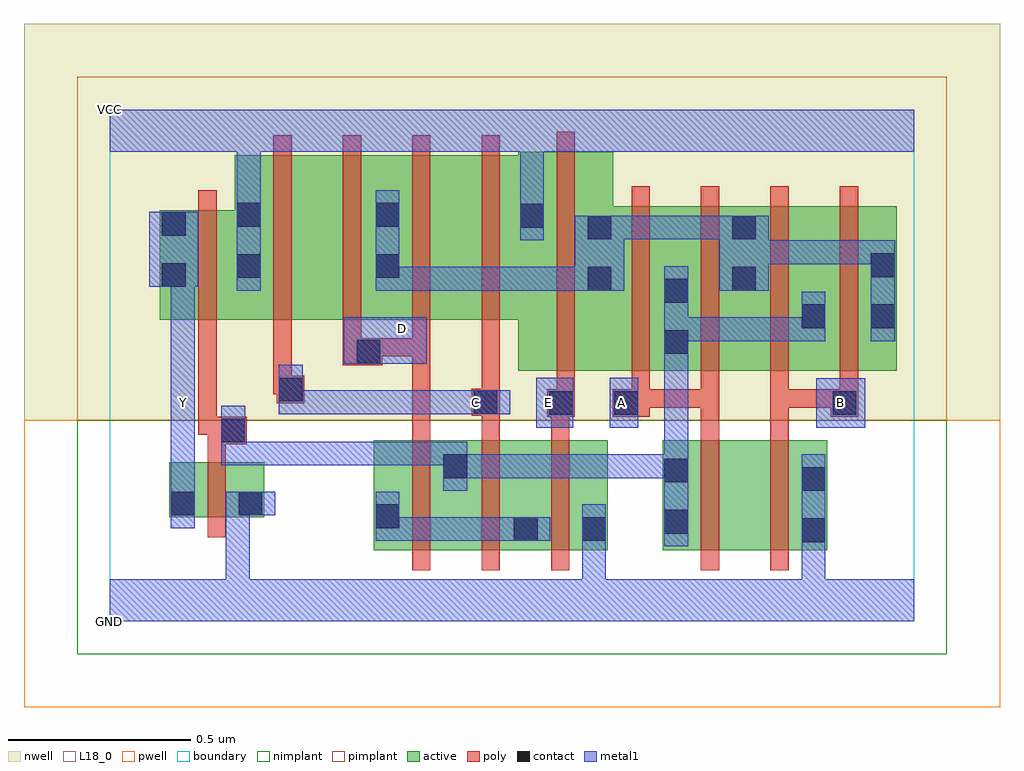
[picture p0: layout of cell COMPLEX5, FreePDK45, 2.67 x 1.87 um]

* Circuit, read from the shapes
.subckt COMPLEX5 A B C D E GND VCC Y
M1 GND n1 Y VSUBS nfet w=0.15u l=0.05u
M2 n1 D n2 VSUBS nfet w=0.3u l=0.05u
M3 n2 C n1 VSUBS nfet w=0.3u l=0.05u
M4 GND E n2 VSUBS nfet w=0.3u l=0.05u
M5 n3 A n1 VSUBS nfet w=0.3u l=0.05u
M6 GND B n3 VSUBS nfet w=0.3u l=0.05u
M7 VCC n1 Y n4 pfet w=0.3u l=0.05u
M8 n5 C VCC n4 pfet w=0.45u l=0.05u
M9 n6 D n5 n4 pfet w=0.45u l=0.05u
M10 n7 D n6 n4 pfet w=0.45u l=0.05u
M11 VCC C n7 n4 pfet w=0.45u l=0.05u
M12 n6 E VCC n4 pfet w=0.6u l=0.05u
M13 n1 A n6 n4 pfet w=0.45u l=0.05u m=2
M14 n1 B n6 n4 pfet w=0.45u l=0.05u m=2
.ends

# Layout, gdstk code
import gdstk
lib = gdstk.Library(unit=1e-6, precision=1e-09)
def R(c, l, rs):  # rectangles x0, y0, x1, y1
    for r in rs: c.add(gdstk.rectangle(r[:2], r[2:], *l))
def A(c, l, x, y, w, h, nx, ny, dx, dy):  # array of equal rectangles
    R(c, l, [(x+i*dx, y+j*dy, x+i*dx+w, y+j*dy+h) for i in range(nx) for j in range(ny)])
active = (1, 0)
pwell = (2, 0)
nwell = (3, 0)
nimplant = (4, 0)
pimplant = (5, 0)
poly = (9, 0)
contact = (10, 0)
metal1 = (11, 0)
L18_0 = (18, 0)
boundary = (235, 0)

complex5 = lib.new_cell('COMPLEX5')
R(complex5, active, [(0.722,0.195,0.797,0.495), (0.722,0.195,0.982,0.495), (0.907,0.195,1.175,0.495), (0.907,0.195,0.982,0.462), (1.1,0.195,1.362,0.495), (1.1,0.195,1.175,0.392), (1.287,0.195,1.362,0.495), (1.512,0.195,1.737,0.495), (1.512,0.195,1.617,0.495), (1.737,0.195,1.962,0.495), (1.887,0.195,1.962,0.495), (0.162,0.285,0.237,0.435), (0.162,0.285,0.422,0.435), (0.347,0.285,0.422,0.435), (1.117,0.685,1.377,1.285), (1.302,0.685,1.587,1.135), (1.512,0.685,1.772,1.135), (1.697,0.685,1.962,1.135), (1.887,0.685,2.152,1.135), (2.077,0.685,2.152,1.055), (1.512,0.727,1.587,1.055), (1.887,0.797,1.962,1.07), (0.137,0.825,0.212,1.125), (0.137,0.825,0.417,1.125), (0.342,0.825,0.567,1.275), (0.342,0.825,0.417,1.15), (0.567,0.825,0.797,1.275), (0.722,0.825,0.947,1.275), (0.947,0.825,1.192,1.275), (0.722,0.857,0.797,1.2), (1.117,0.857,1.192,1.147), (1.302,0.857,1.377,1.2), (1.697,0.857,1.772,1.135)])
R(complex5, pwell, [(-0.235,-0.235,2.435,0.55)])
R(complex5, nwell, [(-0.235,0.55,2.435,1.635)])
R(complex5, nimplant, [(-0.09,-0.09,2.29,0.55)])
R(complex5, pimplant, [(-0.09,0.55,2.29,1.49)])
A(complex5, poly, 0.827, 0.14, 0.05, 0.41, 3, 1, 0.19, 0)
A(complex5, poly, 1.427, 0.585, 0.05, 0.095, 4, 1, 0.19, 0)
A(complex5, poly, 1.427, 0.63, 0.05, 0.56, 4, 1, 0.19, 0)
A(complex5, poly, 0.447, 0.77, 0.05, 0.56, 4, 1, 0.19, 0)
R(complex5, poly, [(1.617,0.14,1.667,0.55), (1.807,0.14,1.857,0.55), (0.267,0.23,0.317,0.49), (0.267,0.44,0.317,0.535), (0.267,0.485,0.375,0.56), (0.827,0.5,0.877,0.775), (1.017,0.5,1.067,0.612), (1.207,0.5,1.257,0.61), (1.617,0.5,1.667,0.635), (1.807,0.5,1.857,0.635), (0.242,0.51,0.292,0.82), (0.242,0.51,0.317,0.56), (0.267,0.51,0.317,0.56), (1.197,0.56,1.272,0.635), (1.207,0.56,1.257,0.61), (1.207,0.56,1.257,0.61), (1.375,0.56,1.477,0.635), (1.972,0.56,2.047,0.635), (0.99,0.562,1.067,0.637), (1.222,0.585,1.272,0.68), (1.427,0.585,1.667,0.635), (1.617,0.585,1.667,0.635), (1.617,0.585,1.667,0.635), (1.617,0.585,1.667,0.635), (1.617,0.585,1.667,0.635), (1.617,0.585,1.667,0.635), (1.807,0.585,2.022,0.635), (1.807,0.585,1.857,0.635), (1.807,0.585,1.857,0.635), (1.807,0.585,1.857,0.635), (1.807,0.585,1.857,0.635), (1.807,0.585,1.857,0.635), (1.017,0.587,1.067,0.637), (1.017,0.587,1.067,0.637), (1.017,0.587,1.067,0.82), (0.457,0.597,0.532,0.672), (0.447,0.622,0.497,0.82), (0.447,0.622,0.507,0.672), (0.457,0.622,0.507,0.672), (1.222,0.63,1.272,1.34), (0.637,0.7,0.745,0.775), (0.637,0.725,0.687,0.82), (0.695,0.725,0.877,0.775), (0.827,0.725,0.877,0.82), (0.827,0.725,0.877,0.775), (0.827,0.725,0.877,0.775), (0.827,0.725,0.877,0.775), (0.827,0.725,0.877,0.775), (0.827,0.725,0.877,0.775), (0.242,0.77,0.292,1.18)])
R(complex5, contact, [(1.892,0.217,1.957,0.282), (1.105,0.22,1.17,0.285), (1.292,0.22,1.357,0.285), (1.517,0.24,1.582,0.305), (0.727,0.255,0.792,0.32), (0.167,0.29,0.232,0.355), (0.352,0.29,0.417,0.355), (1.892,0.357,1.957,0.422), (1.517,0.38,1.582,0.445), (0.912,0.392,0.977,0.457), (0.305,0.49,0.37,0.555), (1.202,0.565,1.267,0.63), (1.38,0.565,1.445,0.63), (1.977,0.565,2.042,0.63), (0.995,0.567,1.06,0.632), (0.462,0.602,0.527,0.667), (0.675,0.705,0.74,0.77), (1.517,0.732,1.582,0.797), (1.892,0.802,1.957,0.867), (2.082,0.802,2.147,0.867), (1.517,0.872,1.582,0.937), (1.307,0.905,1.372,0.97), (1.702,0.905,1.767,0.97), (0.142,0.915,0.207,0.98), (0.347,0.94,0.412,1.005), (0.727,0.94,0.792,1.005), (2.082,0.942,2.147,1.007), (1.307,1.045,1.372,1.11), (1.702,1.045,1.767,1.11), (0.142,1.055,0.207,1.12), (1.122,1.077,1.187,1.142), (0.347,1.08,0.412,1.145), (0.727,1.08,0.792,1.145)])
R(complex5, metal1, [(0,0,2.2,0.115), (0.317,0.05,0.382,0.355), (1.292,0.05,1.357,0.25), (1.892,0.05,1.957,0.247), (1.892,0.182,1.957,0.457), (1.292,0.185,1.357,0.32), (1.517,0.205,1.582,0.48), (0.727,0.22,0.792,0.355), (0.727,0.22,0.802,0.285), (0.737,0.22,0.802,0.285), (0.737,0.22,0.977,0.285), (0.912,0.22,0.977,0.285), (0.912,0.22,0.977,0.285), (0.912,0.22,0.977,0.285), (0.912,0.22,1.135,0.285), (1.07,0.22,1.205,0.285), (0.167,0.255,0.232,0.39), (0.317,0.29,0.382,0.355), (0.317,0.29,0.382,0.355), (0.317,0.29,0.452,0.355), (0.167,0.325,0.232,0.597), (0.912,0.357,0.977,0.492), (0.912,0.392,0.977,0.457), (0.912,0.392,0.977,0.457), (0.912,0.392,1.135,0.457), (1.07,0.392,1.135,0.457), (1.07,0.392,1.135,0.457), (1.07,0.392,1.135,0.457), (1.07,0.392,1.367,0.457), (1.302,0.392,1.367,0.457), (1.302,0.392,1.367,0.457), (1.302,0.392,1.367,0.457), (1.302,0.392,1.582,0.457), (1.517,0.415,1.582,0.762), (0.305,0.427,0.507,0.492), (0.305,0.427,0.37,0.492), (0.305,0.427,0.37,0.52), (0.442,0.427,0.507,0.492), (0.442,0.427,0.507,0.492), (0.442,0.427,0.507,0.492), (0.442,0.427,0.665,0.492), (0.6,0.427,0.665,0.492), (0.6,0.427,0.742,0.492), (0.677,0.427,0.742,0.492), (0.677,0.427,0.802,0.492), (0.737,0.427,0.802,0.492), (0.737,0.427,0.977,0.492), (0.305,0.455,0.37,0.52), (0.305,0.455,0.37,0.52), (0.305,0.455,0.37,0.59), (1.167,0.53,1.267,0.667), (1.367,0.53,1.445,0.667), (1.932,0.53,2.067,0.665), (0.167,0.532,0.232,0.667), (0.462,0.567,0.527,0.702), (0.462,0.567,0.605,0.632), (0.54,0.567,0.605,0.632), (0.54,0.567,0.665,0.632), (0.6,0.567,0.665,0.632), (0.6,0.567,0.84,0.632), (0.775,0.567,0.84,0.632), (0.775,0.567,0.84,0.632), (0.775,0.567,0.84,0.632), (0.775,0.567,0.997,0.632), (0.932,0.567,0.997,0.632), (0.932,0.567,0.997,0.632), (0.932,0.567,1.095,0.632), (0.167,0.602,0.232,0.98), (1.517,0.697,1.582,0.972), (1.517,0.697,1.582,0.762), (1.517,0.697,1.582,0.762), (1.517,0.697,1.582,0.762), (1.517,0.697,1.582,0.762), (0.64,0.705,0.867,0.832), (1.517,0.767,1.582,0.832), (1.517,0.767,1.582,0.832), (1.517,0.767,1.72,0.832), (1.655,0.767,1.72,0.832), (1.655,0.767,1.72,0.832), (1.655,0.767,1.72,0.832), (1.655,0.767,1.957,0.832), (1.892,0.767,1.957,0.902), (2.082,0.767,2.147,1.042), (0.347,0.905,0.412,1.18), (0.727,0.905,0.792,1.18), (0.727,0.905,0.802,0.97), (0.737,0.905,0.802,0.97), (0.737,0.905,0.977,0.97), (0.912,0.905,0.977,0.97), (0.912,0.905,0.977,0.97), (0.912,0.905,0.977,0.97), (0.912,0.905,1.2,0.97), (1.135,0.905,1.337,0.97), (1.135,0.905,1.2,0.97), (1.135,0.905,1.2,0.97), (1.135,0.905,1.2,0.97), (1.272,0.905,1.407,1.11), (1.667,0.905,1.802,1.11), (0.107,0.915,0.242,1.12), (0.167,0.915,0.232,0.98), (0.167,0.915,0.232,0.98), (1.737,0.977,1.802,1.042), (1.737,0.977,1.802,1.042), (1.737,0.977,2.01,1.042), (1.945,0.977,2.147,1.042), (1.945,0.977,2.01,1.042), (1.945,0.977,2.01,1.042), (1.945,0.977,2.01,1.042), (1.122,1.042,1.187,1.177), (1.342,1.045,1.407,1.11), (1.342,1.045,1.407,1.11), (1.342,1.045,1.407,1.11), (1.342,1.045,1.407,1.11), (1.342,1.045,1.582,1.11), (1.517,1.045,1.582,1.11), (1.517,1.045,1.582,1.11), (1.517,1.045,1.582,1.11), (1.517,1.045,1.732,1.11), (1.122,1.112,1.187,1.177), (1.122,1.112,1.187,1.177), (1.122,1.112,1.187,1.35), (0.347,1.115,0.412,1.18), (0.347,1.115,0.412,1.18), (0.347,1.115,0.412,1.18), (0.347,1.115,0.412,1.18), (0.347,1.115,0.412,1.35), (0,1.285,2.2,1.4)])
A(complex5, L18_0, 0.967, 0.567, 0.065, 0.065, 3, 1, 0.2, 0)
R(complex5, L18_0, [(0,0,2.2,0.115), (0.317,0.05,0.382,0.355), (1.292,0.05,1.357,0.25), (1.892,0.05,1.957,0.247), (1.892,0.182,1.957,0.457), (1.292,0.185,1.357,0.32), (0.167,0.255,0.232,0.39), (0.317,0.29,0.382,0.355), (0.317,0.29,0.382,0.355), (0.317,0.29,0.452,0.355), (0.167,0.325,0.232,0.597), (1.167,0.53,1.267,0.667), (1.367,0.53,1.445,0.667), (1.932,0.53,2.067,0.665), (0.167,0.532,0.232,0.667), (0.167,0.567,0.232,0.632), (0.462,0.567,0.527,0.702), (0.462,0.567,0.605,0.632), (0.54,0.567,0.605,0.632), (0.54,0.567,0.665,0.632), (0.6,0.567,0.665,0.632), (0.6,0.567,0.84,0.632), (0.775,0.567,0.84,0.632), (0.775,0.567,0.84,0.632), (0.775,0.567,0.84,0.632), (0.775,0.567,0.997,0.632), (0.932,0.567,0.997,0.632), (0.932,0.567,0.997,0.632), (0.932,0.567,1.095,0.632), (1.967,0.567,2.032,0.632), (0.167,0.602,0.232,0.98), (0.64,0.705,0.867,0.832), (0.767,0.767,0.832,0.832), (0.347,0.905,0.412,1.18), (0.107,0.915,0.242,1.12), (0.167,0.915,0.232,0.98), (0.167,0.915,0.232,0.98), (1.122,1.042,1.187,1.177), (1.122,1.112,1.187,1.177), (1.122,1.112,1.187,1.177), (1.122,1.112,1.187,1.35), (0.347,1.115,0.412,1.18), (0.347,1.115,0.412,1.18), (0.347,1.115,0.412,1.18), (0.347,1.115,0.412,1.18), (0.347,1.115,0.412,1.35), (0,1.285,2.2,1.4)])
R(complex5, boundary, [(0,0,2.2,1.4)])
complex5.add(gdstk.Label('A', (1.4,0.6), layer=11, texttype=0))
complex5.add(gdstk.Label('B', (2,0.6), layer=11, texttype=0))
complex5.add(gdstk.Label('C', (1,0.6), layer=11, texttype=0))
complex5.add(gdstk.Label('D', (0.8,0.8), layer=11, texttype=0))
complex5.add(gdstk.Label('E', (1.2,0.6), layer=11, texttype=0))
complex5.add(gdstk.Label('Y', (0.2,0.6), layer=11, texttype=0))
complex5.add(gdstk.Label('VCC', (0,1.4), layer=11, texttype=0))
complex5.add(gdstk.Label('GND', (0,0), layer=11, texttype=0))

lib.write_gds('COMPLEX5.gds')
